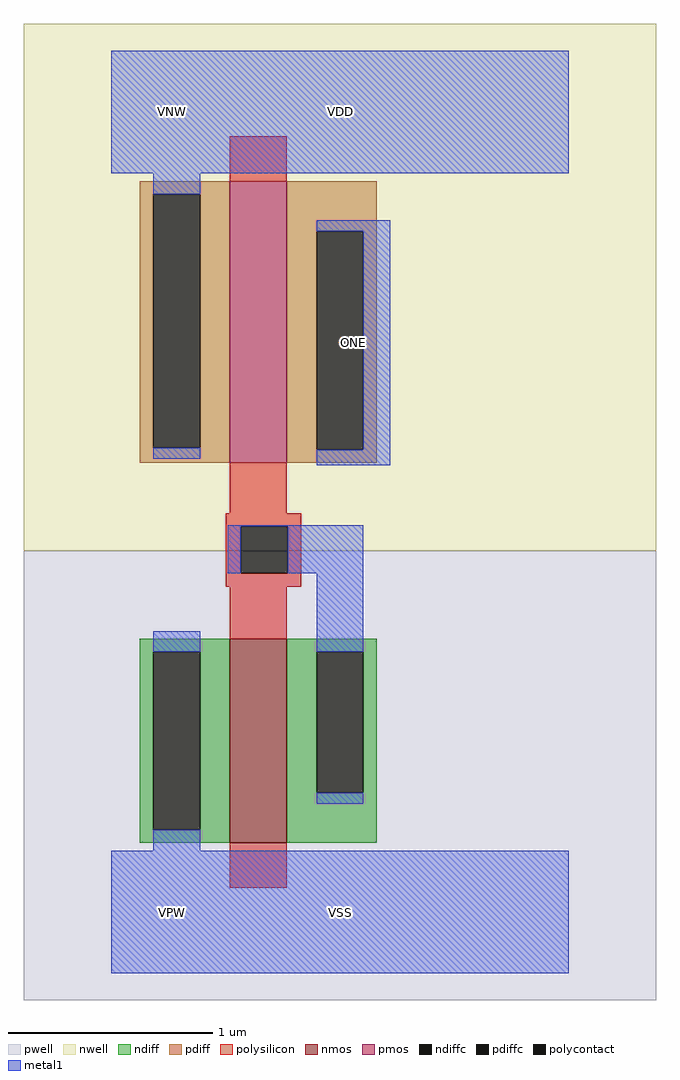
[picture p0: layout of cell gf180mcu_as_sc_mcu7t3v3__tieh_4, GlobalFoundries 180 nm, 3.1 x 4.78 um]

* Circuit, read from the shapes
.subckt gf180mcu_as_sc_mcu7t3v3__tieh_4 VDD VNW VPW VSS ONE
XM1 n1 n1 VSS VPW nfet_03v3 w=1u l=0.28u
XM2 ONE n1 VDD VNW pfet_03v3 w=1.38u l=0.28u
.ends

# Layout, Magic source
magic
tech gf180mcuD
magscale 1 10
<< nwell >>
rect -86 354 534 870
<< pwell >>
rect -86 -86 534 354
<< nmos >>
rect 116 68 172 268
<< pmos >>
rect 116 440 172 716
<< ndiff >>
rect 28 255 116 268
rect 28 81 41 255
rect 87 81 116 255
rect 28 68 116 81
rect 172 255 260 268
rect 172 117 201 255
rect 247 117 260 255
rect 172 68 260 117
<< pdiff >>
rect 28 703 116 716
rect 28 455 41 703
rect 87 455 116 703
rect 28 440 116 455
rect 172 667 260 716
rect 172 453 201 667
rect 247 453 260 667
rect 172 440 260 453
<< ndiffc >>
rect 41 81 87 255
rect 201 117 247 255
<< pdiffc >>
rect 41 455 87 703
rect 201 453 247 667
<< polysilicon >>
rect 116 716 172 760
rect 116 391 172 440
rect 112 378 186 391
rect 112 332 127 378
rect 173 332 186 378
rect 112 319 186 332
rect 116 268 172 319
rect 116 24 172 68
<< polycontact >>
rect 127 332 173 378
<< metal1 >>
rect 0 724 448 844
rect 41 703 87 724
rect 41 444 87 455
rect 201 667 273 678
rect 247 453 273 667
rect 201 438 273 453
rect 114 378 247 379
rect 114 332 127 378
rect 173 332 247 378
rect 41 255 87 275
rect 201 255 247 332
rect 201 106 247 117
rect 41 60 87 81
rect 0 -60 448 60
<< labels >>
flabel metal1 s 0 724 448 844 0 FreeSans 400 0 0 0 VDD
port 1 nsew power bidirectional abutment
flabel metal1 s 0 -60 448 60 0 FreeSans 400 0 0 0 VSS
port 4 nsew ground bidirectional abutment
flabel nwell s 10 734 110 834 0 FreeSans 400 0 0 0 VNW
port 2 nsew power bidirectional
flabel pwell s 10 -50 110 50 0 FreeSans 400 0 0 0 VPW
port 3 nsew ground bidirectional
flabel metal1 201 438 273 678 0 FreeSans 200 0 0 0 ONE
port 5 nsew signal output
<< properties >>
string FIXED_BBOX 0 0 448 784
string LEFclass CORE TIEHIGH
string LEFsite unithd
string LEFsymmetry X Y
string MASKHINTS_NPLUS -16 -46 464 354
string MASKHINTS_PPLUS -16 354 464 830
<< end >>
